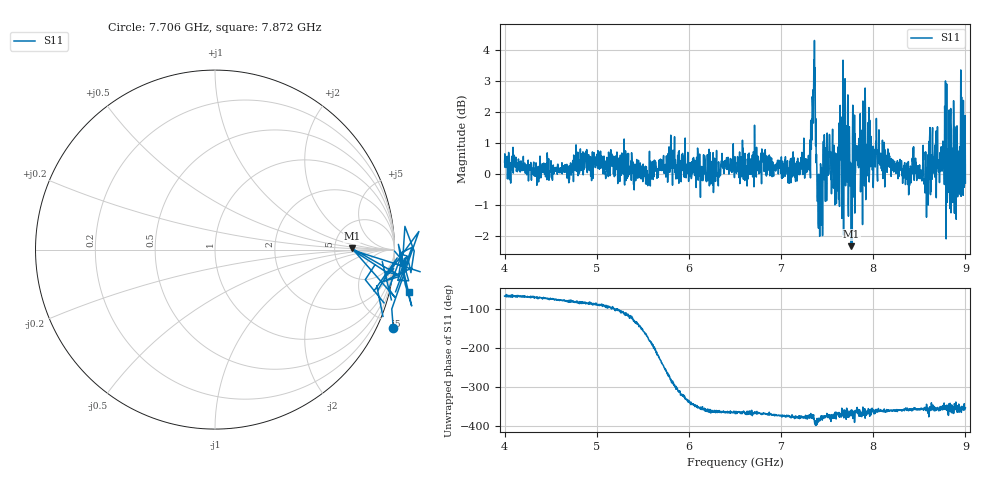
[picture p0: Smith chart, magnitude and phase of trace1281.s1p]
! Created with skrf 1.8.0 (http://scikit-rf.org).
# Hz S RI R 50.0
!freq ReS11 ImS11
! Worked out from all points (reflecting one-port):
!   1601 points, 4 GHz to 9 GHz, reference 50 ohm
!   lowest |S11| = -2.3 dB at 7.762 GHz (marker M1), VSWR 7.47, Z = 373 + j11.3 ohm
!   phase of S11 starts at -67 deg and turns -288 deg over the sweep
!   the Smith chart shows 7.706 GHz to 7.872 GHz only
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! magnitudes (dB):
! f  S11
! 4 GHz  0.4
! 4.625 GHz  0.0
! 5.25 GHz  -0.3
! 5.875 GHz  -0.1
! 6.5 GHz  0.5
! 7.125 GHz  0.5
! 7.294 GHz  0.1
! 7.347 GHz  2.7
! 7.362 GHz  4.3
! 7.397 GHz  -0.8
! 7.412 GHz  -1.3
! 7.481 GHz  -0.9
! 7.538 GHz  0.7
! 7.609 GHz  -0.6
! 7.669 GHz  0.4
! 7.719 GHz  0.0
! 7.75 GHz  0.3
! 7.762 GHz  -2.3
! 7.938 GHz  0.4
! 8.375 GHz  0.2
! 8.441 GHz  -0.1
! 8.575 GHz  0.2
! 8.656 GHz  0.3
! 8.728 GHz  0.1
! 8.8 GHz  0.1
! 8.919 GHz  -0.6
! 8.972 GHz  0.8
! 9 GHz  -0.3
